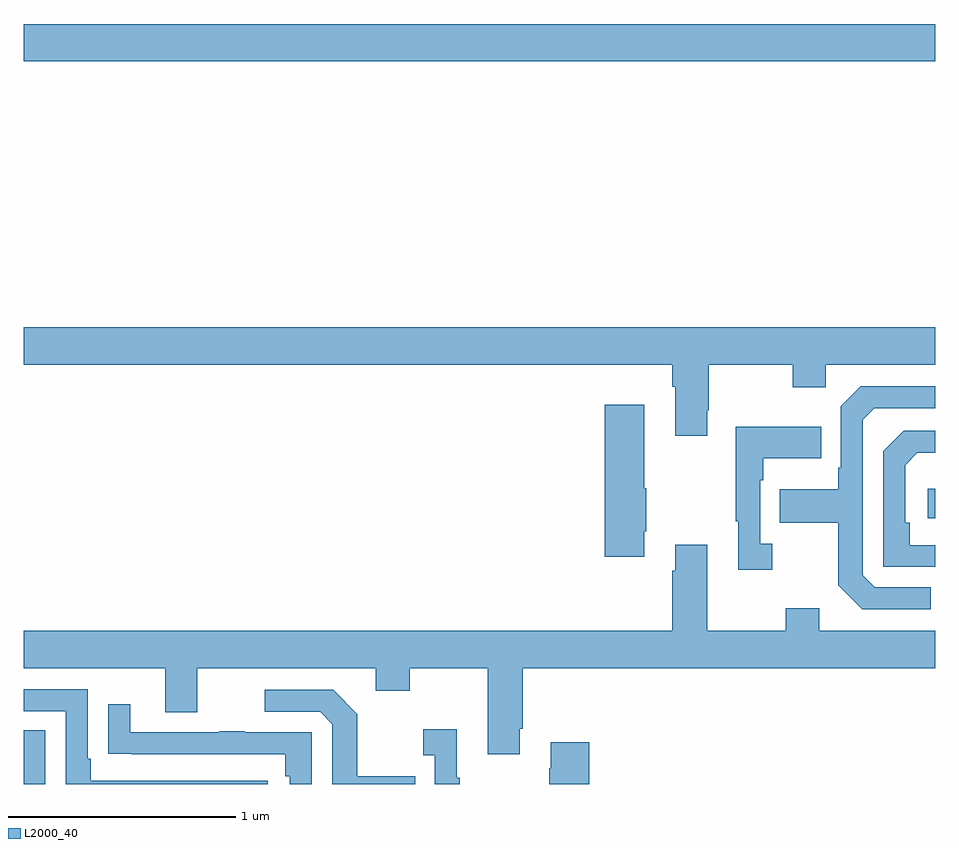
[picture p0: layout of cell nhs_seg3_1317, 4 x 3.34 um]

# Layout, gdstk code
import gdstk
lib = gdstk.Library(unit=1e-6, precision=1e-09)
def R(c, l, rs):  # rectangles x0, y0, x1, y1
    for r in rs: c.add(gdstk.rectangle(r[:2], r[2:], *l))
def P(c, l, *ps):  # polygons
    for p in ps: c.add(gdstk.Polygon(p, *l))
L2000_40 = (2000, 40)

nhs_seg3_1317 = lib.new_cell('nhs_seg3_1317')
R(nhs_seg3_1317, L2000_40, [(179,708.4,179.094,708.635), (182.967,709.566,183,709.696), (179,711.572,183,711.736)])
P(nhs_seg3_1317, L2000_40, [(181.999,710.041),(182.007,710.041),(182.007,710.24),(182.374,710.24),(182.374,710.141),(182.52,710.141),(182.52,710.24),(183,710.24),(183,710.404),(179,710.404),(179,710.24),(181.847,710.24),(181.847,710.144),(181.859,710.144),(181.859,709.929),(181.999,709.929)],
  [(182.98,709.263),(182.736,709.263),(182.682,709.317),(182.682,709.998),(182.733,710.049),(183,710.049),(183,710.145),(182.673,710.145),(182.586,710.058),(182.586,709.789),(182.574,709.789),(182.574,709.693),(182.317,709.693),(182.317,709.546),(182.574,709.546),(182.574,709.273),(182.679,709.167),(182.98,709.167)],
  [(181.723,709.51),(181.731,709.51),(181.731,709.699),(181.723,709.699),(181.723,710.065),(181.55,710.065),(181.55,709.398),(181.723,709.398)],
  [(182.284,709.454),(182.232,709.454),(182.232,709.733),(182.245,709.733),(182.245,709.829),(182.501,709.829),(182.501,709.969),(182.124,709.969),(182.124,709.553),(182.135,709.553),(182.135,709.341),(182.284,709.341)],
  [(183,709.449),(182.888,709.449),(182.888,709.546),(182.868,709.546),(182.868,709.8),(182.921,709.853),(183,709.853),(183,709.95),(182.862,709.95),(182.772,709.86),(182.772,709.353),(183,709.353)],
  [(181.177,708.643),(181.19,708.643),(181.19,708.908),(183,708.908),(183,709.072),(182.491,709.072),(182.491,709.171),(182.344,709.171),(182.344,709.072),(181.999,709.072),(181.999,709.45),(181.859,709.45),(181.859,709.337),(181.847,709.337),(181.847,709.072),(179,709.072),(179,708.908),(179.621,708.908),(179.621,708.714),(179.761,708.714),(179.761,708.908),(180.545,708.908),(180.545,708.809),(180.693,708.809),(180.693,708.908),(181.037,708.908),(181.037,708.531),(181.177,708.531)],
  [(180.07,708.414),(179.293,708.414),(179.293,708.511),(179.28,708.511),(179.28,708.816),(179,708.816),(179,708.72),(179.184,708.72),(179.184,708.4),(180.07,708.4)],
  [(180.719,708.435),(180.463,708.435),(180.463,708.707),(180.357,708.813),(180.057,708.813),(180.057,708.717),(180.3,708.717),(180.354,708.663),(180.354,708.4),(180.719,708.4)],
  [(180.264,708.627),(179.969,708.627),(179.969,708.632),(179.857,708.632),(179.857,708.627),(179.467,708.627),(179.467,708.751),(179.371,708.751),(179.371,708.532),(179.473,708.532),(179.473,708.531),(180.148,708.531),(180.148,708.434),(180.168,708.434),(180.168,708.4),(180.264,708.4)],
  [(180.913,708.427),(180.901,708.427),(180.901,708.64),(180.753,708.64),(180.753,708.527),(180.804,708.527),(180.804,708.4),(180.913,708.4)],
  [(181.481,708.583),(181.313,708.583),(181.313,708.47),(181.306,708.47),(181.306,708.4),(181.481,708.4)])

lib.write_gds('nhs_seg3_1317.gds')
